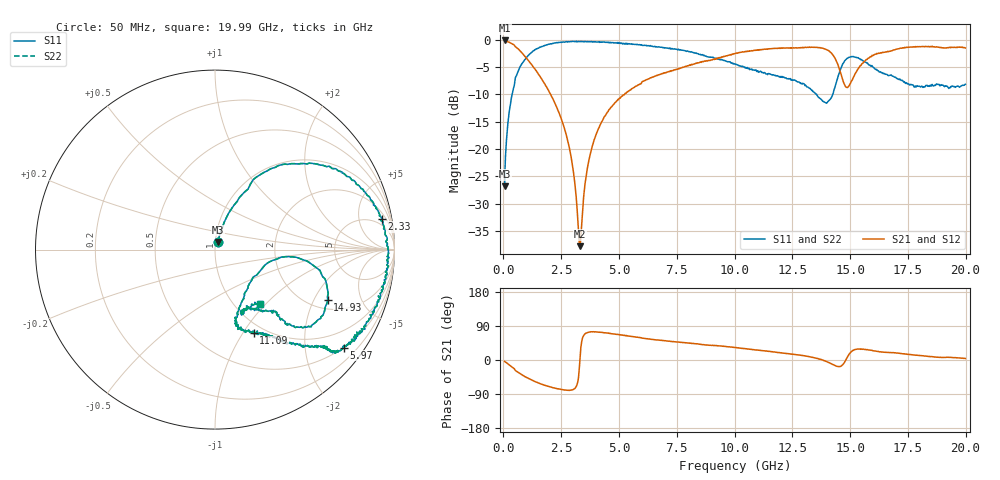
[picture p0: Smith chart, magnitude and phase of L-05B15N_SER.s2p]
! Data Taken on a HP 8720C VNA using a series-through fixture with TRL* de-embedding
#	mhz	s	ma	r	50
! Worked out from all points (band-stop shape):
!   998 points, 50 MHz to 19.99 GHz, reference 50 ohm
!   highest |S21| = -0.12 dB at 50 MHz (marker M1); lowest = -37.8 dB at 3.31 GHz (marker M2)
!   |S21| within 3 dB of the highest: 9.501 GHz to 14.31 GHz (4.812 GHz wide, 40.4 % of centre); 15.86 GHz to end of sweep (the widest 2 of 4)
!   lowest |S11| = -26.9 dB at 50 MHz (marker M3), VSWR 1.10, Z = 51.6 + j4.32 ohm
!   |S11| at or under -10 dB: start of sweep to 374.2 MHz; 13.55 GHz to 14.25 GHz (699.5 MHz wide, 5.03 % of centre)
!   |S22| runs from -26.9 to -0.3 dB; largest |S21 - S12| = 0
!   S11 on the Smith chart (normalised r, x): 50 MHz: 1.03, +0.09; 2.33 GHz: 3, +10; 5.97 GHz: 0.49, -2.89; 11.09 GHz: 0.88, -1.12; 14.93 GHz: 2.45, -2.58; 19.99 GHz: 1.30, -0.92
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50  0.04542 67.0  0.986 -3.8  0.986 -3.8  0.04542 67.0
250  0.2189 69.4  0.9501 -13.1  0.9501 -13.1  0.2189 69.4
610  0.5016 58.1  0.8335 -31.4  0.8335 -31.4  0.5016 58.1
1270  0.7873 36.2  0.5744 -54.0  0.5744 -54.0  0.7873 36.2
2330  0.944 10.5  0.2347 -75.7  0.2347 -75.7  0.944 10.5
2910  0.9643 0.9  0.08912 -79.7  0.08912 -79.7  0.9643 0.9
3310  0.9612 -5.0  0.01289 1.5  0.01289 1.5  0.9612 -5.0
3390  0.9622 -6.3  0.02181 50.0  0.02181 50.0  0.9622 -6.3
3650  0.9661 -9.5  0.07012 72.9  0.07012 72.9  0.9661 -9.5
4090  0.9581 -15.6  0.1502 73.7  0.1502 73.7  0.9581 -15.6
5970  0.9015 -37.3  0.4011 58.5  0.4011 58.5  0.9015 -37.3
6710  0.8598 -41.1  0.4773 52.6  0.4773 52.6  0.8598 -41.1
10030  0.6018 -55.2  0.7512 33.1  0.7512 33.1  0.6018 -55.2
11090  0.513 -65.2  0.8081 25.4  0.8081 25.4  0.513 -65.2
13350  0.3421 -65.9  0.8546 6.9  0.8546 6.9  0.3421 -65.9
13990  0.2631 -35.3  0.8096 -4.3  0.8096 -4.3  0.2631 -35.3
14410  0.4091 -5.5  0.6351 -16.3  0.6351 -16.3  0.4091 -5.5
14930  0.6869 -23.9  0.3746 12.3  0.3746 12.3  0.6869 -23.9
15510  0.6542 -41.7  0.6028 28.5  0.6028 28.5  0.6542 -41.7
16670  0.4697 -46.4  0.7803 19.9  0.7803 19.9  0.4697 -46.4
18230  0.3688 -66.8  0.8628 10.3  0.8628 10.3  0.3688 -66.8
19990  0.3913 -50.2  0.842 4.0  0.842 4.0  0.3913 -50.2
